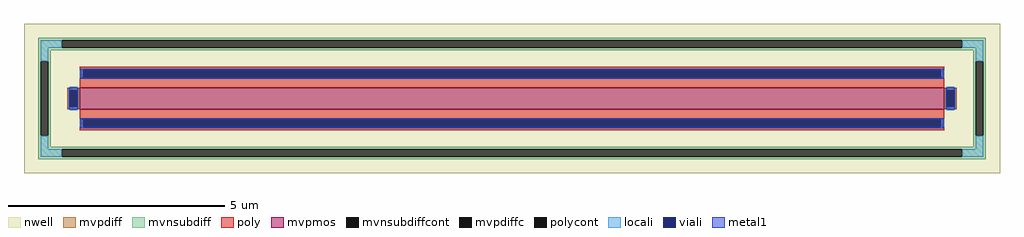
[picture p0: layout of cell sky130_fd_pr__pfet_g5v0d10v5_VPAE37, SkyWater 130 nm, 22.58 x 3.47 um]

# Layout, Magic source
magic
tech sky130A
magscale 1 2
<< nwell >>
rect -2258 -347 2258 347
<< mvpmos >>
rect -2000 -50 2000 50
<< mvpdiff >>
rect -2058 38 -2000 50
rect -2058 -38 -2046 38
rect -2012 -38 -2000 38
rect -2058 -50 -2000 -38
rect 2000 38 2058 50
rect 2000 -38 2012 38
rect 2046 -38 2058 38
rect 2000 -50 2058 -38
<< mvpdiffc >>
rect -2046 -38 -2012 38
rect 2012 -38 2046 38
<< mvnsubdiff >>
rect -2192 269 2192 281
rect -2192 235 -2084 269
rect 2084 235 2192 269
rect -2192 223 2192 235
rect -2192 173 -2134 223
rect -2192 -173 -2180 173
rect -2146 -173 -2134 173
rect 2134 173 2192 223
rect -2192 -223 -2134 -173
rect 2134 -173 2146 173
rect 2180 -173 2192 173
rect 2134 -223 2192 -173
rect -2192 -235 2192 -223
rect -2192 -269 -2084 -235
rect 2084 -269 2192 -235
rect -2192 -281 2192 -269
<< mvnsubdiffcont >>
rect -2084 235 2084 269
rect -2180 -173 -2146 173
rect 2146 -173 2180 173
rect -2084 -269 2084 -235
<< poly >>
rect -2000 131 2000 147
rect -2000 97 -1984 131
rect 1984 97 2000 131
rect -2000 50 2000 97
rect -2000 -97 2000 -50
rect -2000 -131 -1984 -97
rect 1984 -131 2000 -97
rect -2000 -147 2000 -131
<< polycont >>
rect -1984 97 1984 131
rect -1984 -131 1984 -97
<< locali >>
rect -2180 235 -2084 269
rect 2084 235 2180 269
rect -2180 173 -2146 235
rect 2146 173 2180 235
rect -2000 97 -1984 131
rect 1984 97 2000 131
rect -2046 38 -2012 54
rect -2046 -54 -2012 -38
rect 2012 38 2046 54
rect 2012 -54 2046 -38
rect -2000 -131 -1984 -97
rect 1984 -131 2000 -97
rect -2180 -235 -2146 -173
rect 2146 -235 2180 -173
rect -2180 -269 -2084 -235
rect 2084 -269 2180 -235
<< viali >>
rect -1984 97 1984 131
rect -2046 -38 -2012 38
rect 2012 -38 2046 38
rect -1984 -131 1984 -97
<< metal1 >>
rect -1996 131 1996 137
rect -1996 97 -1984 131
rect 1984 97 1996 131
rect -1996 91 1996 97
rect -2052 38 -2006 50
rect -2052 -38 -2046 38
rect -2012 -38 -2006 38
rect -2052 -50 -2006 -38
rect 2006 38 2052 50
rect 2006 -38 2012 38
rect 2046 -38 2052 38
rect 2006 -50 2052 -38
rect -1996 -97 1996 -91
rect -1996 -131 -1984 -97
rect 1984 -131 1996 -97
rect -1996 -137 1996 -131
<< properties >>
string FIXED_BBOX -2163 -252 2163 252
string gencell sky130_fd_pr__pfet_g5v0d10v5
string library sky130
string parameters w 0.5 l 20.0 m 1 nf 1 diffcov 100 polycov 100 guard 1 glc 1 grc 1 gtc 1 gbc 1 tbcov 100 rlcov 100 topc 1 botc 1 poverlap 0 doverlap 1 lmin 0.50 wmin 0.42 class mosfet compatible {sky130_fd_pr__pfet_01v8  sky130_fd_pr__pfet_01v8_lvt sky130_fd_pr__pfet_01v8_hvt  sky130_fd_pr__pfet_g5v0d10v5} full_metal 1 viasrc 100 viadrn 100 viagate 100 viagb 0 viagr 0 viagl 0 viagt 0 ad {int((nf+1)/2) * W/nf * 0.29} as {int((nf+2)/2) * W/nf * 0.29} pd {2*int((nf+1)/2) * (W/nf + 0.29)} ps {2*int((nf+2)/2) * (W/nf + 0.29)} nrd {0.29 / W} nrs {0.29 / W} sa 0 sb 0 sd 0 mult 1
<< end >>
